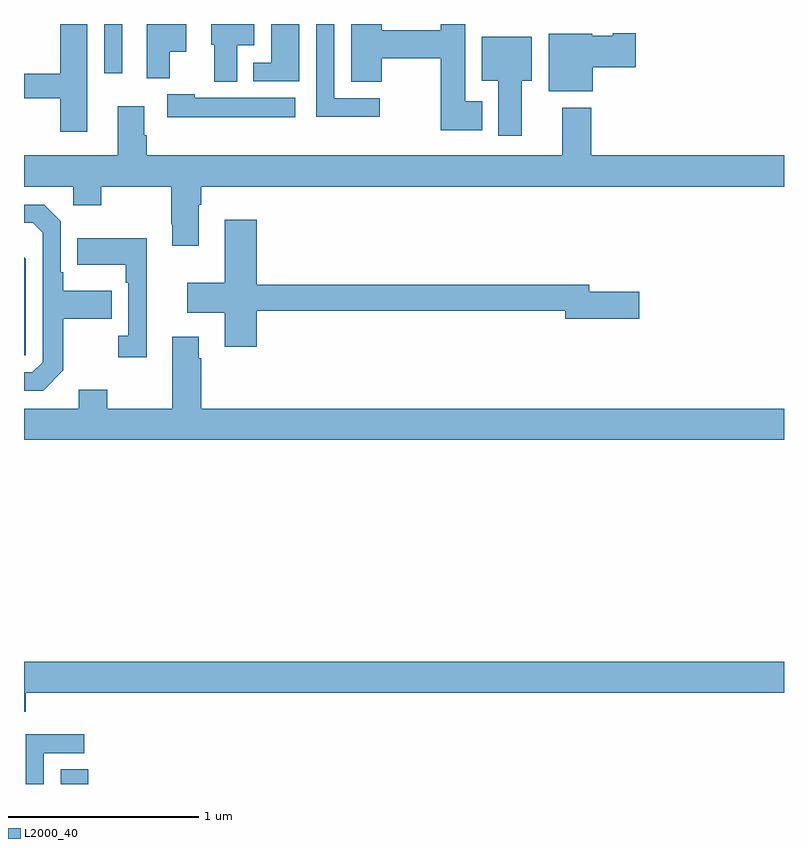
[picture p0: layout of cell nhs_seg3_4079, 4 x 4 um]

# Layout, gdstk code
import gdstk
lib = gdstk.Library(unit=1e-6, precision=1e-09)
def R(c, l, rs):  # rectangles x0, y0, x1, y1
    for r in rs: c.add(gdstk.rectangle(r[:2], r[2:], *l))
def P(c, l, *ps):  # polygons
    for p in ps: c.add(gdstk.Polygon(p, *l))
L2000_40 = (2000, 40)

nhs_seg3_4079 = lib.new_cell('nhs_seg3_4079')
R(nhs_seg3_4079, L2000_40, [(325.193,736.4,325.337,736.478), (325.422,740.142,325.518,740.4)])
P(nhs_seg3_4079, L2000_40, [(326.449,740.4),(326.3,740.4),(326.3,740.196),(326.207,740.196),(326.207,740.1),(326.449,740.1)],
  [(325.768,740.255),(325.855,740.255),(325.855,740.4),(325.646,740.4),(325.646,740.114),(325.768,740.114)],
  [(326.122,740.288),(326.212,740.288),(326.212,740.4),(325.985,740.4),(325.985,740.292),(326,740.292),(326,740.096),(326.122,740.096)],
  [(325.333,740.4),(325.19,740.4),(325.19,740.138),(325,740.138),(325,740.01),(325.19,740.01),(325.19,739.833),(325.333,739.833)],
  [(326.872,740.01),(326.634,740.01),(326.634,740.4),(326.538,740.4),(326.538,739.913),(326.872,739.913)],
  [(327.412,739.993),(327.322,739.993),(327.322,740.4),(327.193,740.4),(327.193,740.366),(326.884,740.366),(326.884,740.4),(326.723,740.4),(326.723,740.095),(326.884,740.095),(326.884,740.219),(327.193,740.219),(327.193,739.841),(327.412,739.841)],
  [(327.994,740.173),(328.219,740.173),(328.219,740.351),(328.098,740.351),(328.098,740.338),(327.99,740.338),(327.99,740.35),(327.761,740.35),(327.761,740.045),(327.994,740.045)],
  [(327.619,740.102),(327.673,740.102),(327.673,740.332),(327.41,740.332),(327.41,740.102),(327.497,740.102),(327.497,739.812),(327.619,739.812)],
  [(326.428,740.011),(325.899,740.011),(325.899,740.029),(325.755,740.029),(325.755,739.91),(326.428,739.91)],
  [(325.921,739.448),(325.934,739.448),(325.934,739.544),(329,739.544),(329,739.708),(327.986,739.708),(327.986,739.96),(327.833,739.96),(327.833,739.708),(325.646,739.708),(325.646,739.814),(325.633,739.814),(325.633,739.966),(325.493,739.966),(325.493,739.708),(325,739.708),(325,739.544),(325.26,739.544),(325.26,739.445),(325.407,739.445),(325.407,739.544),(325.774,739.544),(325.774,739.345),(325.781,739.345),(325.781,739.233),(325.921,739.233)],
  [(325.207,738.577),(325.207,738.85),(325.463,738.85),(325.463,738.997),(325.207,738.997),(325.207,739.093),(325.194,739.093),(325.194,739.362),(325.107,739.449),(325,739.449),(325,739.353),(325.047,739.353),(325.098,739.302),(325.098,738.621),(325.044,738.567),(325,738.567),(325,738.471),(325.101,738.471)],
  [(326.225,738.892),(327.848,738.892),(327.848,738.85),(328.237,738.85),(328.237,738.992),(327.976,738.992),(327.976,739.028),(326.225,739.028),(326.225,739.369),(326.057,739.369),(326.057,739.039),(325.86,739.039),(325.86,738.881),(326.057,738.881),(326.057,738.702),(326.225,738.702)],
  [(325.646,739.273),(325.279,739.273),(325.279,739.133),(325.536,739.133),(325.536,739.037),(325.548,739.037),(325.548,738.758),(325.497,738.758),(325.497,738.645),(325.646,738.645)],
  [(325.008,739.164),(325,739.172),(325,738.657),(325.008,738.657)],
  [(329,738.376),(325.934,738.376),(325.934,738.641),(325.921,738.641),(325.921,738.754),(325.781,738.754),(325.781,738.376),(325.437,738.376),(325.437,738.475),(325.289,738.475),(325.289,738.376),(325,738.376),(325,738.212),(329,738.212)],
  [(325.01,736.88),(329,736.88),(329,737.044),(325,737.044),(325,736.781),(325.01,736.781)],
  [(325.104,736.563),(325.318,736.563),(325.318,736.662),(325.008,736.662),(325.008,736.4),(325.104,736.4)])

lib.write_gds('nhs_seg3_4079.gds')
